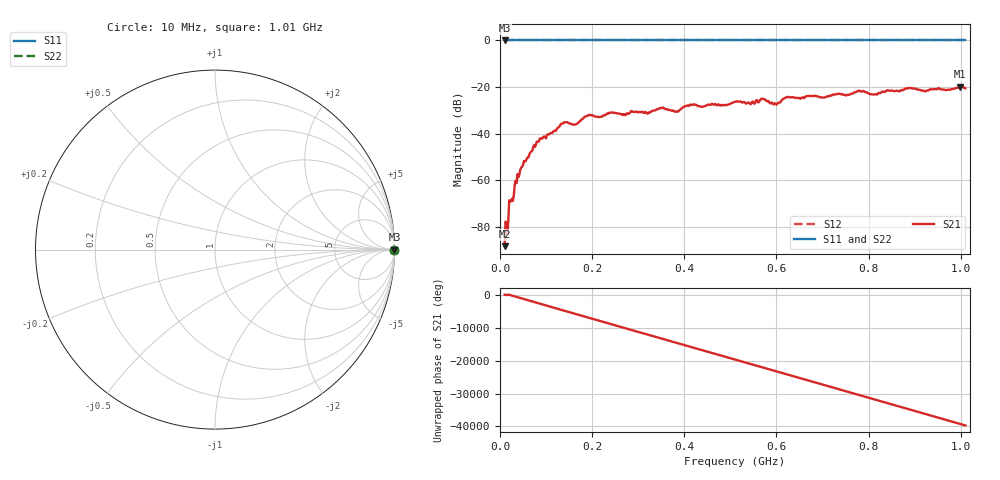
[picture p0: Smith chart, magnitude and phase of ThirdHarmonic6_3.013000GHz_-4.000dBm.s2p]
! 8/17/2025 8:38:51 AM
! C:\ANRITSUVNA\TEMP\TEMP.S2P
! CHANNEL.1
! TR.MEASUREMENT
! RAW.DATA
! RF.CORRECTION.OFF
! AVERAGING.OFF
! IF.BANDWIDTH: 5KHZ
! SWEEPTYPE:  FREQ.SWEEP(Linear)
! Reference Plane Port Info
! PORT:  PORT1  PORT2
! DISTANCE:  0  m  0  m
! TIME:  0  s  0  s
! PHASE.OFFSET:  0  deg.  0  deg.
! LOSS:  0  dB  0  dB
! REF.LOSS:  0  dB  0  dB
! REF.FREQ:  0  Hz  0  Hz
! Power Info
! POWER:  -20  dBm  -20  dBm
! EFF.POWER:  -20  dBm  -20  dBm
! SOURCE.ATTEN:  0  dB  0  dB
! TEST.ATTEN:  0  dB  0  dB
# GHZ S RI R 50.0
! FREQ.GHZ  S11RE  S11IM  S21RE  S21IM  S12RE  S12IM  S22RE  S22IM
!; PortSelection: Port_12
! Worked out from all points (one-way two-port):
!   501 points, 10 MHz to 1.01 GHz, reference 50 ohm
!   highest |S21| = -19.80 dB at 998 MHz (marker M1); lowest = -88.4 dB at 10 MHz (marker M2)
!   lowest |S11| = 0.0 dB at 10 MHz (marker M3)
!   |S11| at or under -10 dB: nowhere
!   |S22| runs from 0.0 to 0.0 dB; largest |S21 - S12| = 1.1
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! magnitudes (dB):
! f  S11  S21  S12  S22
! 10 MHz  0.0  -88.4  0.0  0.0
! 14 MHz  0.0  -78.5  0.0  0.0
! 24 MHz  0.0  -69.0  0.0  0.0
! 42 MHz  0.0  -57.6  0.0  0.0
! 76 MHz  0.0  -45.7  0.0  0.0
! 136 MHz  0.0  -35.7  0.0  0.0
! 164 MHz  0.0  -36.0  0.0  0.0
! 178 MHz  0.0  -33.9  0.0  0.0
! 194 MHz  0.0  -31.9  0.0  0.0
! 322 MHz  0.0  -31.2  0.0  0.0
! 344 MHz  0.0  -29.5  0.0  0.0
! 384 MHz  0.0  -30.4  0.0  0.0
! 416 MHz  0.0  -27.7  0.0  0.0
! 510 MHz  0.0  -26.3  0.0  0.0
! 570 MHz  0.0  -25.0  0.0  0.0
! 598 MHz  0.0  -27.2  0.0  0.0
! 622 MHz  0.0  -24.4  0.0  0.0
! 678 MHz  0.0  -23.9  0.0  0.0
! 814 MHz  0.0  -23.1  0.0  0.0
! 844 MHz  0.0  -21.6  0.0  0.0
! 998 MHz  0.0  -19.8  0.0  0.0
! 1.01 GHz  0.0  -20.6  0.0  0.0
